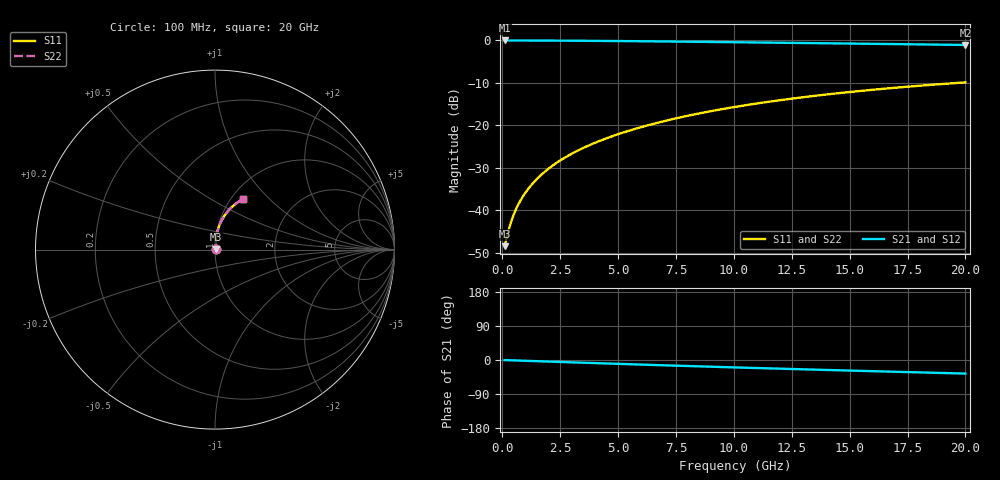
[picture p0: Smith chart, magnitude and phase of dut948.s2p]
! Touchstone file exported from HFSS 2024.1.0
!  File:  C:/UserFiles/LocalFiles/RDL_TSV_Batchsim/temp_RDL_bottom_948_1779942079.aedt
!  Generated:  12:23:59 PM May 28, 2026
!  Design:  RDL_bottom
!  Project:  temp_RDL_bottom_948_1779942079
!  Setup:  Setup1
!  Solution:  Sweep
! Variables:
!  dtsv = 10.80580581um
!  hbump = 3um
!  htsv = 98.02um
!  ldown = 515.2um
!  lrdl = 100um
!  p = 40
!  p1 = 43.13um
!  rhole = 1um
!  t = 450um
!  tdown = 2.79um
!  trdl = 3.915915916um
!  wdown = 21.09um
!  wrdl = 20um
# GHz S MA R 50.000000
! Terminal data exported
! Port[1] = RDL1_T1
! Port[2] = RDL1_T2
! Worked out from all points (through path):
!   200 points, 100 MHz to 20 GHz, reference 50 ohm
!   highest |S21| = -0.03 dB at 100 MHz (marker M1); lowest = -1.1 dB at 20 GHz (marker M2)
!   group delay of S21, straight-line fit = 4.94 ps
!   lowest |S11| = -48.5 dB at 100 MHz (marker M3), VSWR 1.01, Z = 50.3 + j0.173 ohm
!   |S11| at or under -10 dB: start of sweep to 19.73 GHz
!   |S22| runs from -48.5 to -9.9 dB; largest |S21 - S12| = 3.2e-15
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0.1  0.003759 27.2  0.9966 -0.2  0.9966 -0.2  0.003759 27.2
! Gamma 0 0 0 0
! Port Impedance 50 0 50 0
0.3  0.006162 54.1  0.9963 -0.7  0.9963 -0.7  0.006162 54.1
0.4  0.007548 60.1  0.9962 -0.9  0.9962 -0.9  0.007548 60.1
0.5  0.008949 64.2  0.996 -1.1  0.996 -1.1  0.008949 64.2
0.6  0.01035 67.2  0.9958 -1.3  0.9958 -1.3  0.01035 67.2
0.8  0.01318 71.5  0.9955 -1.7  0.9955 -1.7  0.01318 71.5
1  0.01604 74.3  0.9951 -2.1  0.9951 -2.1  0.01604 74.3
1.2  0.01894 76.4  0.9948 -2.5  0.9948 -2.5  0.01894 76.4
1.4  0.02187 78.0  0.9944 -2.9  0.9944 -2.9  0.02187 78.0
1.7  0.02632 79.7  0.9938 -3.6  0.9938 -3.6  0.02632 79.7
2.2  0.03385 81.5  0.9925 -4.6  0.9925 -4.6  0.03385 81.5
2.8  0.04306 82.6  0.9907 -5.8  0.9907 -5.8  0.04306 82.6
3.5  0.05403 83.3  0.9881 -7.2  0.9881 -7.2  0.05403 83.3
4.2  0.06524 83.4  0.9851 -8.6  0.9851 -8.6  0.06524 83.4
5  0.0783 83.2  0.9812 -10.2  0.9812 -10.2  0.07831 83.2
6.8  0.1085 81.8  0.9712 -13.7  0.9712 -13.7  0.1085 81.8
8.4  0.1359 79.8  0.9612 -16.6  0.9612 -16.6  0.1359 79.8
10.1  0.1651 77.3  0.9501 -19.7  0.9501 -19.7  0.1652 77.4
11.7  0.1923 74.8  0.9393 -22.4  0.9393 -22.4  0.1923 74.8
13.4  0.2204 72.0  0.9277 -25.3  0.9277 -25.3  0.2205 72.0
16.7  0.2724 66.5  0.9049 -30.7  0.9049 -30.7  0.2725 66.5
20  0.3199 61.2  0.8821 -35.8  0.8821 -35.8  0.32 61.2
